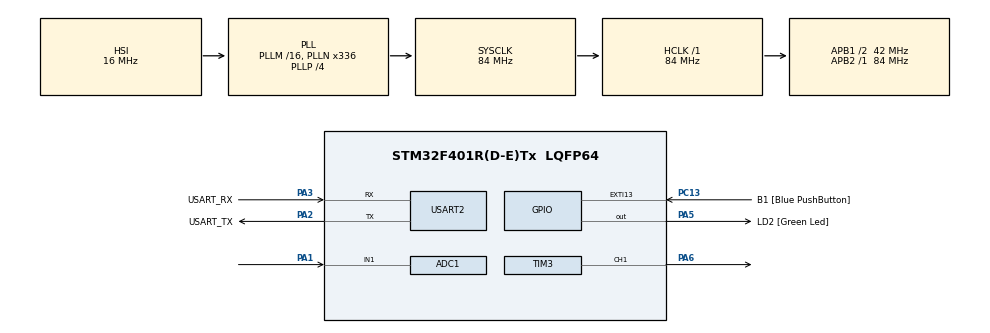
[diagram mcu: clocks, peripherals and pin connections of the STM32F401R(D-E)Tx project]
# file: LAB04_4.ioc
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ADC1.Channel-0\#ChannelRegularConversion=ADC_CHANNEL_1
ADC1.ContinuousConvMode=ENABLE
ADC1.ExternalTrigConv=ADC_EXTERNALTRIGCONV_T3_CC1
ADC1.ExternalTrigConvEdge=ADC_EXTERNALTRIGCONVEDGE_RISINGFALLING
ADC1.NbrOfConversionFlag=1
ADC1.Rank-0\#ChannelRegularConversion=1
ADC1.Resolution=ADC_RESOLUTION_8B
ADC1.SamplingTime-0\#ChannelRegularConversion=ADC_SAMPLETIME_3CYCLES
ADC1.master=1
Mcu.Family=STM32F4
Mcu.Name=STM32F401R(D-E)Tx
Mcu.Package=LQFP64
NVIC.ADC_IRQn=true\:0\:0\:false\:false\:true\:true\:true
NVIC.PriorityGroup=NVIC_PRIORITYGROUP_0
NVIC.USART2_IRQn=true\:0\:0\:false\:false\:true\:true\:true
PA1.Signal=ADCx_IN1
PA13.GPIO_Label=TMS
PA13.Mode=Serial_Wire
PA13.Signal=SYS_JTMS-SWDIO
PA14.GPIO_Label=TCK
PA14.Mode=Serial_Wire
PA14.Signal=SYS_JTCK-SWCLK
PA2.GPIO_Label=USART_TX
PA2.GPIO_Mode=GPIO_MODE_AF_PP
PA2.GPIO_PuPd=GPIO_NOPULL
PA2.GPIO_Speed=GPIO_SPEED_FREQ_LOW
PA2.Mode=Asynchronous
PA2.Signal=USART2_TX
PA3.GPIO_Label=USART_RX
PA3.GPIO_Mode=GPIO_MODE_AF_PP
PA3.GPIO_PuPd=GPIO_NOPULL
PA3.GPIO_Speed=GPIO_SPEED_FREQ_LOW
PA3.Mode=Asynchronous
PA3.Signal=USART2_RX
PA5.GPIO_Label=LD2 [Green Led]
PA5.GPIO_Mode=GPIO_MODE_OUTPUT_PP
PA5.GPIO_PuPd=GPIO_NOPULL
PA5.GPIO_Speed=GPIO_SPEED_FREQ_LOW
PA5.Signal=GPIO_Output
PA6.Signal=S_TIM3_CH1
PB3.GPIO_Label=SWO
PB3.Signal=SYS_JTDO-SWO
PC13-ANTI_TAMP.GPIO_Label=B1 [Blue PushButton]
PC13-ANTI_TAMP.GPIO_ModeDefaultEXTI=GPIO_MODE_IT_FALLING
PC13-ANTI_TAMP.GPIO_PuPd=GPIO_NOPULL
PC13-ANTI_TAMP.Signal=GPXTI13
PC14-OSC32_IN.Mode=LSE-External-Oscillator
PC14-OSC32_IN.Signal=RCC_OSC32_IN
PC15-OSC32_OUT.Mode=LSE-External-Oscillator
PC15-OSC32_OUT.Signal=RCC_OSC32_OUT
PH0\ -\ OSC_IN.Mode=HSE-External-Clock-Source
PH0\ -\ OSC_IN.Signal=RCC_OSC_IN
PH1\ -\ OSC_OUT.Mode=HSE-External-Clock-Source
PH1\ -\ OSC_OUT.Signal=RCC_OSC_OUT
ProjectManager.HeapSize=0x200
ProjectManager.StackSize=0x400
ProjectManager.TargetToolchain=STM32CubeIDE
RCC.48MHZClocksFreq_Value=48000000
RCC.AHBFreq_Value=84000000
RCC.APB1CLKDivider=RCC_HCLK_DIV2
RCC.APB1Freq_Value=42000000
RCC.APB1TimFreq_Value=84000000
RCC.APB2Freq_Value=84000000
RCC.APB2TimFreq_Value=84000000
RCC.CortexFreq_Value=84000000
RCC.HCLKFreq_Value=84000000
RCC.HSE_VALUE=8000000
RCC.HSI_VALUE=16000000
RCC.PLLN=336
RCC.PLLP=RCC_PLLP_DIV4
RCC.PLLQ=7
RCC.SYSCLKFreq_VALUE=84000000
RCC.SYSCLKSource=RCC_SYSCLKSOURCE_PLLCLK
RCC.VCOOutputFreq_Value=336000000
SH.ADCx_IN1.0=ADC1_IN1,IN1
SH.S_TIM3_CH1.0=TIM3_CH1,Output Compare1 CH1
TIM3.Channel-Output\ Compare1\ CH1=TIM_CHANNEL_1
TIM3.OCMode_1=TIM_OCMODE_TOGGLE
TIM3.Period=999
TIM3.Prescaler=41999
TIM3.Pulse-Output\ Compare1\ CH1=499
USART2.VirtualMode=VM_ASYNC
VP_TIM3_VS_ClockSourceINT.Mode=Internal
board=NUCLEO-F401RE

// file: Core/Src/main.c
/* USER CODE BEGIN Header */
/**
  ******************************************************************************
  * @file           : main.c
  * @brief          : Main program body
  ******************************************************************************
  * @attention
  *
  * <h2><center>&copy; Copyright (c) 2023 STMicroelectronics.
  * All rights reserved.</center></h2>
  *
  * This software component is licensed by ST under BSD 3-Clause license,
  * the "License"; You may not use this file except in compliance with the
  * License. You may obtain a copy of the License at:
  *                        opensource.org/licenses/BSD-3-Clause
  *
  ******************************************************************************
  */
/* USER CODE END Header */
#include "main.h"

/* USER CODE BEGIN Includes */
#include <string.h>
#include <stdio.h>
/* USER CODE END Includes */

ADC_HandleTypeDef hadc1;

TIM_HandleTypeDef htim3;

UART_HandleTypeDef huart2;

/* USER CODE BEGIN PV */
uint16_t converted_value = 0;
volatile uint8_t ready_to_send = 0;
uint8_t length = 0;
char msg[30];
/* USER CODE END PV */

void SystemClock_Config(void);
static void MX_GPIO_Init(void);
static void MX_USART2_UART_Init(void);
static void MX_ADC1_Init(void);
static void MX_TIM3_Init(void);

int main(void)
{

  /* MCU Configuration--------------------------------------------------------*/

  /* Reset of all peripherals, Initializes the Flash interface and the Systick. */
  HAL_Init();

  /* Configure the system clock */
  SystemClock_Config();

  /* Initialize all configured peripherals */
  MX_GPIO_Init();
  MX_USART2_UART_Init();
  MX_ADC1_Init();
  MX_TIM3_Init();
  /* USER CODE BEGIN 2 */
  HAL_ADC_Start_IT (&hadc1);
  HAL_TIM_OC_Start_IT (&htim3, TIM_CHANNEL_1);
  /* USER CODE END 2 */

  /* Infinite loop */
  /* USER CODE BEGIN WHILE */
  while (1)
  {
	  // ready_to_send is set by the callback function of the ADC
	  // when conversion has been completed, thus is signals there is a
	  // new number ready to be transmitted
	  if (ready_to_send == 1){
		  // reset the ready_to_send variable, so that
		  // the same number is not transmitted multiple times
		  ready_to_send = 0;
		  // use of the sprintf function does two things:
		  // - format the converted value into a string that will be transmitted
		  // - assign the number of written characters to the variable length,
		  //   so that we only transmit the part of msg array that contains the message
		  //   we just created
		  length = sprintf(msg, "Converted value: %u\r\n", converted_value);
		  // transmit the formatted string
		  HAL_UART_Transmit_IT(&huart2, (uint8_t*)msg, length);
	  }
    /* USER CODE END WHILE */

  }
}

void SystemClock_Config(void)
{
  RCC_OscInitTypeDef RCC_OscInitStruct = {0};
  RCC_ClkInitTypeDef RCC_ClkInitStruct = {0};

  /** Configure the main internal regulator output voltage
  */
  __HAL_RCC_PWR_CLK_ENABLE();
  __HAL_PWR_VOLTAGESCALING_CONFIG(PWR_REGULATOR_VOLTAGE_SCALE2);
  /** Initializes the RCC Oscillators according to the specified parameters
  * in the RCC_OscInitTypeDef structure.
  */
  RCC_OscInitStruct.OscillatorType = RCC_OSCILLATORTYPE_HSI;
  RCC_OscInitStruct.HSIState = RCC_HSI_ON;
  RCC_OscInitStruct.HSICalibrationValue = RCC_HSICALIBRATION_DEFAULT;
  RCC_OscInitStruct.PLL.PLLState = RCC_PLL_ON;
  RCC_OscInitStruct.PLL.PLLSource = RCC_PLLSOURCE_HSI;
  RCC_OscInitStruct.PLL.PLLM = 16;
  RCC_OscInitStruct.PLL.PLLN = 336;
  RCC_OscInitStruct.PLL.PLLP = RCC_PLLP_DIV4;
  RCC_OscInitStruct.PLL.PLLQ = 7;
  if (HAL_RCC_OscConfig(&RCC_OscInitStruct) != HAL_OK)
  {
    Error_Handler();
  }
  /** Initializes the CPU, AHB and APB buses clocks
  */
  RCC_ClkInitStruct.ClockType = RCC_CLOCKTYPE_HCLK|RCC_CLOCKTYPE_SYSCLK
                              |RCC_CLOCKTYPE_PCLK1|RCC_CLOCKTYPE_PCLK2;
  RCC_ClkInitStruct.SYSCLKSource = RCC_SYSCLKSOURCE_PLLCLK;
  RCC_ClkInitStruct.AHBCLKDivider = RCC_SYSCLK_DIV1;
  RCC_ClkInitStruct.APB1CLKDivider = RCC_HCLK_DIV2;
  RCC_ClkInitStruct.APB2CLKDivider = RCC_HCLK_DIV1;

  if (HAL_RCC_ClockConfig(&RCC_ClkInitStruct, FLASH_LATENCY_2) != HAL_OK)
  {
    Error_Handler();
  }
}

static void MX_ADC1_Init(void)
{

  ADC_ChannelConfTypeDef sConfig = {0};

  /** Configure the global features of the ADC (Clock, Resolution, Data Alignment and number of conversion)
  */
  hadc1.Instance = ADC1;
  hadc1.Init.ClockPrescaler = ADC_CLOCK_SYNC_PCLK_DIV4;
  hadc1.Init.Resolution = ADC_RESOLUTION_8B;
  hadc1.Init.ScanConvMode = DISABLE;
  hadc1.Init.ContinuousConvMode = ENABLE;
  hadc1.Init.DiscontinuousConvMode = DISABLE;
  hadc1.Init.ExternalTrigConvEdge = ADC_EXTERNALTRIGCONVEDGE_RISINGFALLING;
  hadc1.Init.ExternalTrigConv = ADC_EXTERNALTRIGCONV_T3_CC1;
  hadc1.Init.DataAlign = ADC_DATAALIGN_RIGHT;
  hadc1.Init.NbrOfConversion = 1;
  hadc1.Init.DMAContinuousRequests = DISABLE;
  hadc1.Init.EOCSelection = ADC_EOC_SINGLE_CONV;
  if (HAL_ADC_Init(&hadc1) != HAL_OK)
  {
    Error_Handler();
  }
  /** Configure for the selected ADC regular channel its corresponding rank in the sequencer and its sample time.
  */
  sConfig.Channel = ADC_CHANNEL_1;
  sConfig.Rank = 1;
  sConfig.SamplingTime = ADC_SAMPLETIME_3CYCLES;
  if (HAL_ADC_ConfigChannel(&hadc1, &sConfig) != HAL_OK)
  {
    Error_Handler();
  }

}

static void MX_TIM3_Init(void)
{

  TIM_ClockConfigTypeDef sClockSourceConfig = {0};
  TIM_MasterConfigTypeDef sMasterConfig = {0};
  TIM_OC_InitTypeDef sConfigOC = {0};

  htim3.Instance = TIM3;
  htim3.Init.Prescaler = 41999;
  htim3.Init.CounterMode = TIM_COUNTERMODE_UP;
  htim3.Init.Period = 999;
  htim3.Init.ClockDivision = TIM_CLOCKDIVISION_DIV1;
  htim3.Init.AutoReloadPreload = TIM_AUTORELOAD_PRELOAD_DISABLE;
  if (HAL_TIM_Base_Init(&htim3) != HAL_OK)
  {
    Error_Handler();
  }
  sClockSourceConfig.ClockSource = TIM_CLOCKSOURCE_INTERNAL;
  if (HAL_TIM_ConfigClockSource(&htim3, &sClockSourceConfig) != HAL_OK)
  {
    Error_Handler();
  }
  if (HAL_TIM_OC_Init(&htim3) != HAL_OK)
  {
    Error_Handler();
  }
  sMasterConfig.MasterOutputTrigger = TIM_TRGO_RESET;
  sMasterConfig.MasterSlaveMode = TIM_MASTERSLAVEMODE_DISABLE;
  if (HAL_TIMEx_MasterConfigSynchronization(&htim3, &sMasterConfig) != HAL_OK)
  {
    Error_Handler();
  }
  sConfigOC.OCMode = TIM_OCMODE_TOGGLE;
  sConfigOC.Pulse = 499;
  sConfigOC.OCPolarity = TIM_OCPOLARITY_HIGH;
  sConfigOC.OCFastMode = TIM_OCFAST_DISABLE;
  if (HAL_TIM_OC_ConfigChannel(&htim3, &sConfigOC, TIM_CHANNEL_1) != HAL_OK)
  {
    Error_Handler();
  }
  HAL_TIM_MspPostInit(&htim3);

}

static void MX_USART2_UART_Init(void)
{

  huart2.Instance = USART2;
  huart2.Init.BaudRate = 115200;
  huart2.Init.WordLength = UART_WORDLENGTH_8B;
  huart2.Init.StopBits = UART_STOPBITS_1;
  huart2.Init.Parity = UART_PARITY_NONE;
  huart2.Init.Mode = UART_MODE_TX_RX;
  huart2.Init.HwFlowCtl = UART_HWCONTROL_NONE;
  huart2.Init.OverSampling = UART_OVERSAMPLING_16;
  if (HAL_UART_Init(&huart2) != HAL_OK)
  {
    Error_Handler();
  }

}

static void MX_GPIO_Init(void)
{
  GPIO_InitTypeDef GPIO_InitStruct = {0};

  /* GPIO Ports Clock Enable */
  __HAL_RCC_GPIOC_CLK_ENABLE();
  __HAL_RCC_GPIOH_CLK_ENABLE();
  __HAL_RCC_GPIOA_CLK_ENABLE();
  __HAL_RCC_GPIOB_CLK_ENABLE();

  /*Configure GPIO pin Output Level */
  HAL_GPIO_WritePin(LD2_GPIO_Port, LD2_Pin, GPIO_PIN_RESET);

  /*Configure GPIO pin : B1_Pin */
  GPIO_InitStruct.Pin = B1_Pin;
  GPIO_InitStruct.Mode = GPIO_MODE_IT_FALLING;
  GPIO_InitStruct.Pull = GPIO_NOPULL;
  HAL_GPIO_Init(B1_GPIO_Port, &GPIO_InitStruct);

  /*Configure GPIO pin : LD2_Pin */
  GPIO_InitStruct.Pin = LD2_Pin;
  GPIO_InitStruct.Mode = GPIO_MODE_OUTPUT_PP;
  GPIO_InitStruct.Pull = GPIO_NOPULL;
  GPIO_InitStruct.Speed = GPIO_SPEED_FREQ_LOW;
  HAL_GPIO_Init(LD2_GPIO_Port, &GPIO_InitStruct);

}

/* USER CODE BEGIN 4 */
void HAL_ADC_ConvCpltCallback (ADC_HandleTypeDef * hadc){
	// write the converted value to converted_value
	converted_value = HAL_ADC_GetValue(&hadc1);
	// set ready_to_send variable
	ready_to_send = 1;
}
/* USER CODE END 4 */

void Error_Handler(void)
{
  __disable_irq();
  while (1)
  {
  }
}

/************************ (C) COPYRIGHT STMicroelectronics *****END OF FILE****/
